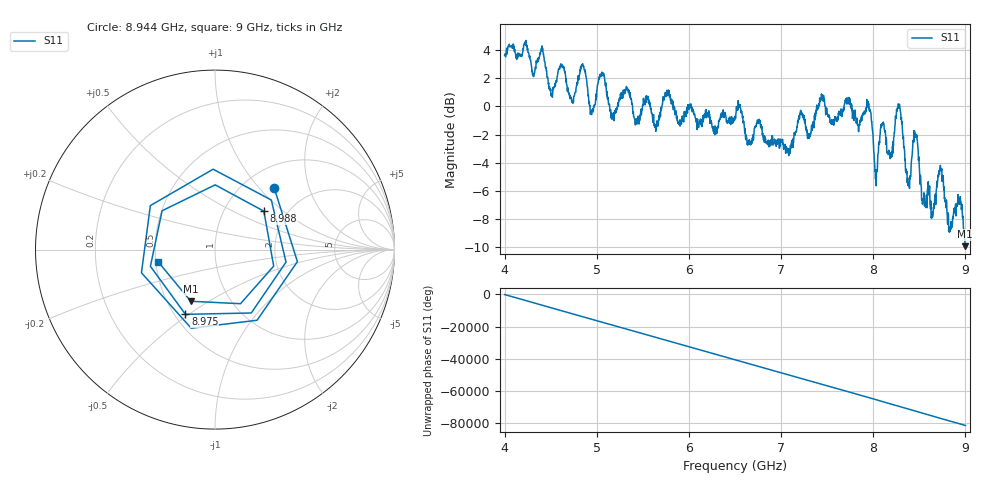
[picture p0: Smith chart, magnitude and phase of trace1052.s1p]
! Created with skrf 1.8.0 (http://scikit-rf.org).
# Hz S RI R 50.0
!freq ReS11 ImS11
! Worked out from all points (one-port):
!   1601 points, 4 GHz to 9 GHz, reference 50 ohm
!   lowest |S11| = -10.0 dB at 8.997 GHz (marker M1), VSWR 1.93, Z = 32.8 - j21 ohm
!   |S11| at or under -10 dB: nowhere
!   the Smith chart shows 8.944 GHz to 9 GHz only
!   S11 on the Smith chart (normalised r, x): 8.944 GHz: 1.36, +1.21; 8.975 GHz: 0.57, -0.49; 8.988 GHz: 1.53, +0.74; 9 GHz: 0.51, -0.08
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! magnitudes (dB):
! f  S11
! 4 GHz  3.7
! 4.403 GHz  4.0
! 4.506 GHz  0.9
! 4.625 GHz  2.8
! 4.728 GHz  0.3
! 4.847 GHz  3.0
! 4.941 GHz  -0.5
! 5.053 GHz  2.2
! 5.166 GHz  -0.9
! 5.25 GHz  0.5
! 5.875 GHz  -1.1
! 6.5 GHz  -0.7
! 7.125 GHz  -2.5
! 7.444 GHz  0.8
! 7.75 GHz  0.4
! 7.953 GHz  -0.1
! 8.031 GHz  -5.6
! 8.278 GHz  0.0
! 8.375 GHz  -5.1
! 8.456 GHz  -1.9
! 8.55 GHz  -6.2
! 8.728 GHz  -4.2
! 8.831 GHz  -8.8
! 8.944 GHz  -6.4
! 8.975 GHz  -8.0
! 8.988 GHz  -9.2
! 8.997 GHz  -10.0
! 9 GHz  -9.8
